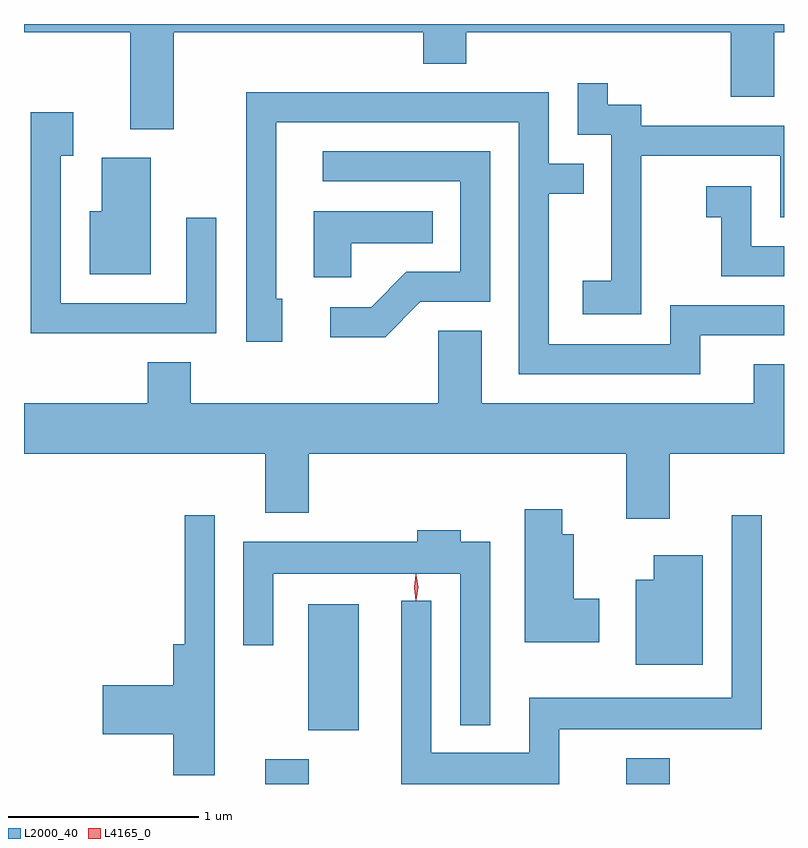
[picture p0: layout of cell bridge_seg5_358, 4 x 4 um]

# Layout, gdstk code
import gdstk
lib = gdstk.Library(unit=1e-6, precision=1e-09)
def R(c, l, rs):  # rectangles x0, y0, x1, y1
    for r in rs: c.add(gdstk.rectangle(r[:2], r[2:], *l))
def P(c, l, *ps):  # polygons
    for p in ps: c.add(gdstk.Polygon(p, *l))
L2000_40 = (2000, 40)
L4165_0 = (4165, 0)

bridge_seg5_358 = lib.new_cell('bridge_seg5_358')
R(bridge_seg5_358, L2000_40, [(398.561,1492.799,398.789,1492.929), (400.461,1492.799,400.689,1492.934), (398.786,1493.081,399.054,1493.744)])
P(bridge_seg5_358, L2000_40, [(398.079,1496.756),(399.391,1496.756),(399.391,1496.591),(399.619,1496.591),(399.619,1496.756),(401.011,1496.756),(401.011,1496.416),(401.239,1496.416),(401.239,1496.756),(401.291,1496.756),(401.291,1496.799),(397.291,1496.799),(397.291,1496.756),(397.851,1496.756),(397.851,1496.246),(398.079,1496.246)],
  [(400.539,1496.106),(401.271,1496.106),(401.271,1495.781),(401.291,1495.781),(401.291,1496.264),(400.539,1496.264),(400.539,1496.374),(400.364,1496.374),(400.364,1496.488),(400.206,1496.488),(400.206,1496.216),(400.381,1496.216),(400.381,1495.449),(400.231,1495.449),(400.231,1495.271),(400.539,1495.271)],
  [(400.849,1495.161),(401.291,1495.161),(401.291,1495.319),(400.691,1495.319),(400.691,1495.114),(400.054,1495.114),(400.054,1495.906),(400.238,1495.906),(400.238,1496.064),(400.054,1496.064),(400.054,1496.439),(398.461,1496.439),(398.461,1495.126),(398.649,1495.126),(398.649,1495.354),(398.619,1495.354),(398.619,1496.281),(399.896,1496.281),(399.896,1494.956),(400.849,1494.956)],
  [(398.304,1495.778),(398.146,1495.778),(398.146,1495.329),(397.484,1495.329),(397.484,1496.106),(397.549,1496.106),(397.549,1496.334),(397.326,1496.334),(397.326,1495.171),(398.304,1495.171)],
  [(399.377,1495.336),(399.744,1495.336),(399.744,1496.129),(398.863,1496.129),(398.863,1495.971),(399.586,1495.971),(399.586,1495.494),(399.304,1495.494),(399.119,1495.309),(398.903,1495.309),(398.903,1495.151),(399.192,1495.151)],
  [(397.959,1496.094),(397.701,1496.094),(397.701,1495.814),(397.636,1495.814),(397.636,1495.481),(397.959,1495.481)],
  [(401.291,1495.629),(401.119,1495.629),(401.119,1495.944),(400.883,1495.944),(400.883,1495.781),(400.961,1495.781),(400.961,1495.471),(401.291,1495.471)],
  [(399.014,1495.646),(399.443,1495.646),(399.443,1495.814),(398.816,1495.814),(398.816,1495.466),(399.014,1495.466)],
  [(400.689,1494.536),(401.291,1494.536),(401.291,1495.009),(401.131,1495.009),(401.131,1494.804),(399.699,1494.804),(399.699,1495.184),(399.471,1495.184),(399.471,1494.804),(398.169,1494.804),(398.169,1495.019),(397.941,1495.019),(397.941,1494.804),(397.291,1494.804),(397.291,1494.536),(398.561,1494.536),(398.561,1494.226),(398.789,1494.226),(398.789,1494.536),(400.461,1494.536),(400.461,1494.196),(400.689,1494.196)],
  [(400.319,1493.774),(400.184,1493.774),(400.184,1494.114),(400.124,1494.114),(400.124,1494.244),(399.926,1494.244),(399.926,1493.546),(400.319,1493.546)],
  [(398.294,1494.213),(398.136,1494.213),(398.136,1493.534),(398.076,1493.534),(398.076,1493.319),(397.706,1493.319),(397.706,1493.061),(398.076,1493.061),(398.076,1492.846),(398.294,1492.846)],
  [(400.109,1493.086),(401.174,1493.086),(401.174,1494.213),(401.016,1494.213),(401.016,1493.254),(399.951,1493.254),(399.951,1492.964),(399.434,1492.964),(399.434,1493.763),(399.276,1493.763),(399.276,1492.799),(400.109,1492.799)],
  [(399.744,1494.074),(399.589,1494.074),(399.589,1494.134),(399.361,1494.134),(399.361,1494.074),(398.446,1494.074),(398.446,1493.528),(398.604,1493.528),(398.604,1493.906),(399.586,1493.906),(399.586,1493.108),(399.744,1493.108)],
  [(400.864,1494.004),(400.606,1494.004),(400.606,1493.874),(400.511,1493.874),(400.511,1493.426),(400.864,1493.426)])
P(bridge_seg5_358, L4165_0, [(399.354,1493.767),(399.345,1493.834),(399.354,1493.9),(399.355,1493.9),(399.355,1493.9),(399.365,1493.834),(399.355,1493.767),(399.355,1493.767)],
  [(399.354,1493.764),(399.354,1493.764),(399.344,1493.833),(399.354,1493.902),(399.354,1493.903),(399.355,1493.902),(399.364,1493.833),(399.355,1493.764)])

lib.write_gds('bridge_seg5_358.gds')
